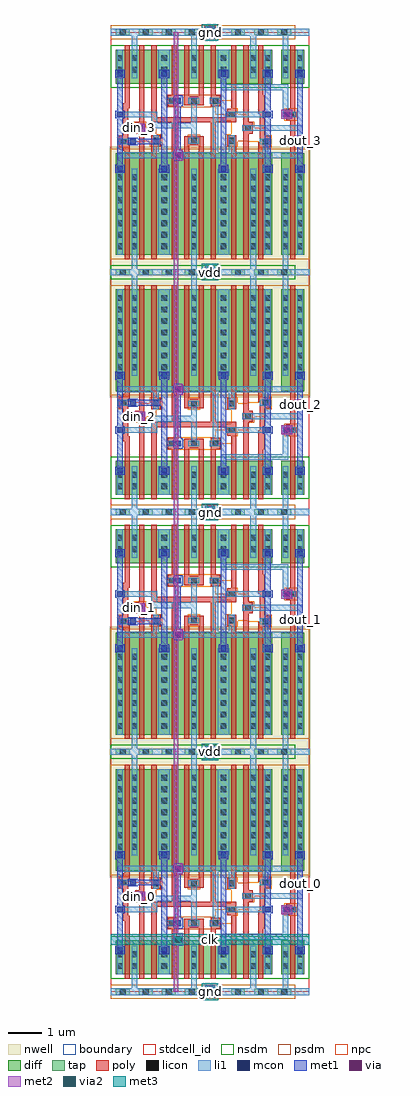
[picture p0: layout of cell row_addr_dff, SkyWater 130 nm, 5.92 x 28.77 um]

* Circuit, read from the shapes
.subckt row_addr_dff clk din_0 din_1 din_2 din_3 dout_0 dout_1 dout_2 dout_3 gnd vdd
XM1 gnd n1 n2 gnd sky130_fd_pr__nfet_01v8 w=1 l=0.15
XM2 gnd n3 n4 gnd sky130_fd_pr__nfet_01v8 w=1 l=0.15
XM3 gnd n5 n6 gnd sky130_fd_pr__nfet_01v8 w=1 l=0.15
XM4 gnd n7 n8 gnd sky130_fd_pr__nfet_01v8 w=1 l=0.15
XM5 n9 din_0 gnd gnd sky130_fd_pr__nfet_01v8 w=1 l=0.15
XM6 n10 din_1 gnd gnd sky130_fd_pr__nfet_01v8 w=1 l=0.15
XM7 n11 din_2 gnd gnd sky130_fd_pr__nfet_01v8 w=1 l=0.15
XM8 n12 din_3 gnd gnd sky130_fd_pr__nfet_01v8 w=1 l=0.15
XM9 n1 n13 n9 gnd sky130_fd_pr__nfet_01v8 w=1 l=0.15
XM10 n3 n14 n10 gnd sky130_fd_pr__nfet_01v8 w=1 l=0.15
XM11 n5 n15 n11 gnd sky130_fd_pr__nfet_01v8 w=1 l=0.15
XM12 n7 n16 n12 gnd sky130_fd_pr__nfet_01v8 w=1 l=0.15
XM13 n17 clk n1 gnd sky130_fd_pr__nfet_01v8 w=1 l=0.15
XM14 n18 clk n3 gnd sky130_fd_pr__nfet_01v8 w=1 l=0.15
XM15 n19 clk n5 gnd sky130_fd_pr__nfet_01v8 w=1 l=0.15
XM16 n20 clk n7 gnd sky130_fd_pr__nfet_01v8 w=1 l=0.15
XM17 gnd n2 n17 gnd sky130_fd_pr__nfet_01v8 w=1 l=0.15
XM18 gnd n4 n18 gnd sky130_fd_pr__nfet_01v8 w=1 l=0.15
XM19 gnd n6 n19 gnd sky130_fd_pr__nfet_01v8 w=1 l=0.15
XM20 gnd n8 n20 gnd sky130_fd_pr__nfet_01v8 w=1 l=0.15
XM21 n21 n2 gnd gnd sky130_fd_pr__nfet_01v8 w=1 l=0.15
XM22 n22 n4 gnd gnd sky130_fd_pr__nfet_01v8 w=1 l=0.15
XM23 n23 n6 gnd gnd sky130_fd_pr__nfet_01v8 w=1 l=0.15
XM24 n24 n8 gnd gnd sky130_fd_pr__nfet_01v8 w=1 l=0.15
XM25 dff_0/ON clk n21 gnd sky130_fd_pr__nfet_01v8 w=1 l=0.15
XM26 dff_1/ON clk n22 gnd sky130_fd_pr__nfet_01v8 w=1 l=0.15
XM27 dff_2/ON clk n23 gnd sky130_fd_pr__nfet_01v8 w=1 l=0.15
XM28 dff_3/ON clk n24 gnd sky130_fd_pr__nfet_01v8 w=1 l=0.15
XM29 n25 n13 dff_0/ON gnd sky130_fd_pr__nfet_01v8 w=1 l=0.15
XM30 n26 n14 dff_1/ON gnd sky130_fd_pr__nfet_01v8 w=1 l=0.15
XM31 n27 n15 dff_2/ON gnd sky130_fd_pr__nfet_01v8 w=1 l=0.15
XM32 n28 n16 dff_3/ON gnd sky130_fd_pr__nfet_01v8 w=1 l=0.15
XM33 gnd dout_0 n25 gnd sky130_fd_pr__nfet_01v8 w=1 l=0.15
XM34 gnd dout_1 n26 gnd sky130_fd_pr__nfet_01v8 w=1 l=0.15
XM35 gnd dout_2 n27 gnd sky130_fd_pr__nfet_01v8 w=1 l=0.15
XM36 gnd dout_3 n28 gnd sky130_fd_pr__nfet_01v8 w=1 l=0.15
XM37 n13 clk gnd gnd sky130_fd_pr__nfet_01v8 w=1 l=0.15
XM38 n14 clk gnd gnd sky130_fd_pr__nfet_01v8 w=1 l=0.15
XM39 n15 clk gnd gnd sky130_fd_pr__nfet_01v8 w=1 l=0.15
XM40 n16 clk gnd gnd sky130_fd_pr__nfet_01v8 w=1 l=0.15
XM41 dout_0 dff_0/ON gnd gnd sky130_fd_pr__nfet_01v8 w=1 l=0.15
XM42 dout_1 dff_1/ON gnd gnd sky130_fd_pr__nfet_01v8 w=1 l=0.15
XM43 dout_2 dff_2/ON gnd gnd sky130_fd_pr__nfet_01v8 w=1 l=0.15
XM44 dout_3 dff_3/ON gnd gnd sky130_fd_pr__nfet_01v8 w=1 l=0.15
XM45 vdd n1 n2 vdd sky130_fd_pr__pfet_01v8 w=3 l=0.15
XM46 vdd n3 n4 vdd sky130_fd_pr__pfet_01v8 w=3 l=0.15
XM47 vdd n5 n6 vdd sky130_fd_pr__pfet_01v8 w=3 l=0.15
XM48 vdd n7 n8 vdd sky130_fd_pr__pfet_01v8 w=3 l=0.15
XM49 n29 din_0 vdd vdd sky130_fd_pr__pfet_01v8 w=3 l=0.15
XM50 n30 din_1 vdd vdd sky130_fd_pr__pfet_01v8 w=3 l=0.15
XM51 n31 din_2 vdd vdd sky130_fd_pr__pfet_01v8 w=3 l=0.15
XM52 n32 din_3 vdd vdd sky130_fd_pr__pfet_01v8 w=3 l=0.15
XM53 n1 clk n29 vdd sky130_fd_pr__pfet_01v8 w=3 l=0.15
XM54 n3 clk n30 vdd sky130_fd_pr__pfet_01v8 w=3 l=0.15
XM55 n5 clk n31 vdd sky130_fd_pr__pfet_01v8 w=3 l=0.15
XM56 n7 clk n32 vdd sky130_fd_pr__pfet_01v8 w=3 l=0.15
XM57 n33 n13 n1 vdd sky130_fd_pr__pfet_01v8 w=3 l=0.15
XM58 n34 n14 n3 vdd sky130_fd_pr__pfet_01v8 w=3 l=0.15
XM59 n35 n15 n5 vdd sky130_fd_pr__pfet_01v8 w=3 l=0.15
XM60 n36 n16 n7 vdd sky130_fd_pr__pfet_01v8 w=3 l=0.15
XM61 vdd n2 n33 vdd sky130_fd_pr__pfet_01v8 w=3 l=0.15
XM62 vdd n4 n34 vdd sky130_fd_pr__pfet_01v8 w=3 l=0.15
XM63 vdd n6 n35 vdd sky130_fd_pr__pfet_01v8 w=3 l=0.15
XM64 vdd n8 n36 vdd sky130_fd_pr__pfet_01v8 w=3 l=0.15
XM65 n37 n2 vdd vdd sky130_fd_pr__pfet_01v8 w=3 l=0.15
XM66 n38 n4 vdd vdd sky130_fd_pr__pfet_01v8 w=3 l=0.15
XM67 n39 n6 vdd vdd sky130_fd_pr__pfet_01v8 w=3 l=0.15
XM68 n40 n8 vdd vdd sky130_fd_pr__pfet_01v8 w=3 l=0.15
XM69 dff_0/ON n13 n37 vdd sky130_fd_pr__pfet_01v8 w=3 l=0.15
XM70 dff_1/ON n14 n38 vdd sky130_fd_pr__pfet_01v8 w=3 l=0.15
XM71 dff_2/ON n15 n39 vdd sky130_fd_pr__pfet_01v8 w=3 l=0.15
XM72 dff_3/ON n16 n40 vdd sky130_fd_pr__pfet_01v8 w=3 l=0.15
XM73 n41 clk dff_0/ON vdd sky130_fd_pr__pfet_01v8 w=3 l=0.15
XM74 n42 clk dff_1/ON vdd sky130_fd_pr__pfet_01v8 w=3 l=0.15
XM75 n43 clk dff_2/ON vdd sky130_fd_pr__pfet_01v8 w=3 l=0.15
XM76 n44 clk dff_3/ON vdd sky130_fd_pr__pfet_01v8 w=3 l=0.15
XM77 vdd dout_0 n41 vdd sky130_fd_pr__pfet_01v8 w=3 l=0.15
XM78 vdd dout_1 n42 vdd sky130_fd_pr__pfet_01v8 w=3 l=0.15
XM79 vdd dout_2 n43 vdd sky130_fd_pr__pfet_01v8 w=3 l=0.15
XM80 vdd dout_3 n44 vdd sky130_fd_pr__pfet_01v8 w=3 l=0.15
XM81 n13 clk vdd vdd sky130_fd_pr__pfet_01v8 w=3 l=0.15
XM82 n14 clk vdd vdd sky130_fd_pr__pfet_01v8 w=3 l=0.15
XM83 n15 clk vdd vdd sky130_fd_pr__pfet_01v8 w=3 l=0.15
XM84 n16 clk vdd vdd sky130_fd_pr__pfet_01v8 w=3 l=0.15
XM85 dout_0 dff_0/ON vdd vdd sky130_fd_pr__pfet_01v8 w=3 l=0.15
XM86 dout_1 dff_1/ON vdd vdd sky130_fd_pr__pfet_01v8 w=3 l=0.15
XM87 dout_2 dff_2/ON vdd vdd sky130_fd_pr__pfet_01v8 w=3 l=0.15
XM88 dout_3 dff_3/ON vdd vdd sky130_fd_pr__pfet_01v8 w=3 l=0.15
.ends

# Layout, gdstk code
import gdstk
lib = gdstk.Library(unit=1e-6, precision=1e-09)
def R(c, l, rs):  # rectangles x0, y0, x1, y1
    for r in rs: c.add(gdstk.rectangle(r[:2], r[2:], *l))
def A(c, l, x, y, w, h, nx, ny, dx, dy):  # array of equal rectangles
    R(c, l, [(x+i*dx, y+j*dy, x+i*dx+w, y+j*dy+h) for i in range(nx) for j in range(ny)])
nwell = (64, 20)
diff = (65, 20)
tap = (65, 44)
poly = (66, 20)
licon = (66, 44)
li1 = (67, 20)
mcon = (67, 44)
met1 = (68, 20)
via = (68, 44)
met2 = (69, 20)
via2 = (69, 44)
met3 = (70, 20)
stdcell_id = (81, 4)
nsdm = (93, 44)
psdm = (94, 20)
npc = (95, 20)
boundary = (235, 4)

dff = lib.new_cell('dff')
R(dff, nwell, [(-0.04,3.38,5.88,7.335)])
R(dff, diff, [(0.14,0.51,4.75,1.51), (5.02,0.51,5.7,1.51), (0.14,3.56,4.75,6.56), (5.02,3.56,5.7,6.56)])
A(dff, tap, 0.14, -0.085, 0.41, 0.17, 8, 2, 0.68, 7.07)
R(dff, poly, [(0.405,0.38,0.555,2.085), (0.835,0.38,0.985,2.655), (1.195,0.38,1.345,2.505), (1.795,0.38,1.945,1.855), (2.155,0.38,2.305,1.885), (2.585,0.38,2.735,1.885), (2.945,0.38,3.095,1.855), (3.545,0.38,3.695,2.255), (3.905,0.38,4.055,2.655), (4.335,0.38,4.485,1.855), (5.285,0.38,5.435,2.255), (1.675,1.855,1.945,2.185), (2.945,1.855,3.215,2.185), (4.335,1.855,4.54,2.405), (2.155,1.885,2.735,2.155), (0.355,2.085,0.555,2.235), (0.355,2.235,0.505,3.055), (3.425,2.255,3.695,2.505), (5.165,2.255,5.435,2.585), (4.39,2.405,4.54,3.055), (1.195,2.505,3.695,2.655), (5.285,2.585,5.435,6.69), (0.715,2.655,0.985,2.985), (1.795,2.655,1.945,6.69), (2.945,2.655,3.095,6.69), (3.905,2.655,4.175,2.985), (0.835,2.985,0.985,6.69), (3.905,2.985,4.055,6.69), (1.195,3.03,1.465,3.36), (3.425,3.03,3.695,3.36), (0.235,3.055,0.505,3.335), (4.39,3.055,4.69,3.235), (2.155,3.065,2.735,3.335), (4.335,3.235,4.69,3.385), (0.235,3.335,0.555,3.385), (2.155,3.335,2.305,6.69), (2.585,3.335,2.735,6.69), (1.195,3.36,1.345,6.69), (3.545,3.36,3.695,6.69), (0.35,3.385,0.555,3.485), (4.335,3.385,4.485,6.69), (0.405,3.485,0.555,6.69)])
A(dff, licon, 0.26, -0.085, 0.17, 0.17, 8, 2, 0.68, 7.07)
A(dff, licon, 0.61, 0.675, 0.17, 0.17, 5, 2, 0.875, 0.34)
A(dff, licon, 1.725, 1.935, 0.17, 0.17, 3, 1, 0.635, 0)
A(dff, licon, 0.18, 4.185, 0.17, 0.17, 1, 7, 0, 0.34)
A(dff, licon, 0.61, 4.185, 0.17, 0.17, 5, 7, 0.875, 0.34)
A(dff, licon, 4.54, 4.185, 0.17, 0.17, 1, 7, 0, 0.34)
A(dff, licon, 5.06, 4.185, 0.17, 0.17, 1, 7, 0, 0.34)
A(dff, licon, 5.49, 4.185, 0.17, 0.17, 1, 7, 0, 0.34)
R(dff, licon, [(0.18,0.675,0.35,0.845), (4.54,0.675,4.71,0.845), (5.06,0.675,5.23,0.845), (5.49,0.675,5.66,0.845), (0.18,1.015,0.35,1.185), (4.54,1.015,4.71,1.185), (5.06,1.015,5.23,1.185), (5.49,1.015,5.66,1.185), (3.475,2.335,3.645,2.505), (5.215,2.335,5.385,2.505), (0.765,2.735,0.935,2.905), (3.955,2.735,4.125,2.905), (1.245,3.11,1.415,3.28), (3.475,3.11,3.645,3.28), (2.36,3.115,2.53,3.285), (0.285,3.135,0.455,3.305), (4.47,3.135,4.64,3.305)])
A(dff, li1, 0.61, 0.1, 0.17, 1.25, 3, 1, 1.75, 0)
A(dff, li1, 0.61, 4.02, 0.17, 2.96, 3, 1, 1.75, 0)
R(dff, li1, [(0,-0.1,5.84,0.1), (0,-0.1,5.84,0.1), (5.06,0.1,5.23,1.35), (0.18,0.51,0.35,1.35), (1.4,0.51,1.74,1.35), (3.15,0.51,3.49,1.35), (4.54,0.51,4.71,1.355), (5.49,0.51,5.66,1.355), (3.235,1.35,3.405,1.535), (3.235,1.535,5.23,1.705), (5.06,1.705,5.23,2.335), (1.64,1.935,2.065,2.105), (2.28,1.935,2.61,2.105), (2.915,1.935,3.245,2.105), (2.36,2.105,2.53,2.66), (2.995,2.105,3.165,3.535), (0.18,2.335,1.365,2.505), (3.395,2.335,4.71,2.505), (5.06,2.335,5.465,2.505), (1.195,2.505,1.365,2.66), (1.195,2.66,2.53,2.83), (0.685,2.735,1.015,2.905), (3.875,2.735,5.66,2.905), (2.36,2.83,2.53,3.115), (5.49,2.905,5.66,3.26), (1.245,3.03,1.415,3.535), (3.475,3.03,3.645,3.535), (2.28,3.115,2.61,3.285), (0.205,3.135,0.735,3.305), (4.39,3.135,4.72,3.305), (4.47,3.305,4.64,3.535), (0.205,3.535,5.66,3.705), (0.18,3.935,0.35,6.56), (1.485,3.935,1.655,4.02), (3.235,3.935,3.405,4.02), (4.54,3.935,4.71,6.56), (5.49,3.935,5.66,6.56), (1.4,4.02,1.74,6.56), (3.15,4.02,3.49,6.56), (5.06,4.02,5.23,6.98), (0,6.98,5.84,7.16), (0,6.98,5.84,7.16)])
R(dff, mcon, [(0.18,1.135,0.35,1.305), (1.485,1.135,1.655,1.305), (3.235,1.135,3.405,1.305), (4.54,1.135,4.71,1.305), (5.49,1.135,5.66,1.305), (1.895,1.935,2.065,2.105), (0.18,2.335,0.35,2.505), (4.54,2.335,4.71,2.505), (5.1,2.335,5.27,2.505), (0.765,2.735,0.935,2.905), (5.49,3.09,5.66,3.26), (0.565,3.135,0.735,3.305), (1.895,3.535,2.065,3.705), (0.18,3.935,0.35,4.105), (1.485,3.935,1.655,4.105), (3.235,3.935,3.405,4.105), (4.54,3.935,4.71,4.105), (5.49,3.935,5.66,4.105)])
R(dff, met1, [(0.12,1.105,0.41,1.335), (1.425,1.105,1.715,1.335), (3.175,1.105,3.465,1.335), (4.48,1.105,4.77,1.335), (5.43,1.105,5.72,1.335), (0.18,1.335,0.35,2.305), (1.485,1.335,1.655,3.135), (3.235,1.335,3.405,3.905), (4.54,1.335,4.71,2.305), (5.49,1.335,5.66,3.045), (1.845,1.86,2.115,1.905), (1.835,1.905,2.125,2.135), (1.845,2.135,2.115,2.18), (1.895,2.18,2.065,3.46), (5.02,2.29,5.35,2.55), (0.12,2.305,0.41,2.535), (4.48,2.305,4.77,2.535), (0.18,2.535,0.35,3.905), (4.54,2.535,4.71,3.905), (0.685,2.69,1.015,2.95), (5.41,3.045,5.74,3.305), (0.505,3.105,0.795,3.135), (0.505,3.135,1.655,3.305), (0.505,3.305,0.795,3.335), (1.485,3.305,1.655,3.905), (5.49,3.305,5.66,3.905), (1.845,3.46,2.115,3.505), (1.835,3.505,2.125,3.735), (1.845,3.735,2.115,3.78), (0.12,3.905,0.41,4.135), (1.425,3.905,1.715,4.135), (3.175,3.905,3.465,4.135), (4.48,3.905,4.77,4.135), (5.43,3.905,5.72,4.135)])
R(dff, via, [(5.11,2.345,5.26,2.495), (0.775,2.745,0.925,2.895), (5.5,3.1,5.65,3.25), (1.905,3.545,2.055,3.695)])
R(dff, met2, [(5.02,2.29,5.35,2.55), (0.685,2.69,1.015,2.95), (0.685,2.69,1.015,2.95), (5.41,3.045,5.74,3.305), (5.41,3.045,5.74,3.305), (1.845,3.46,2.115,3.78), (1.845,3.46,2.115,3.78)])
R(dff, stdcell_id, [(0,0,5.84,7.07)])
R(dff, nsdm, [(0,0.385,5.84,1.635), (0,6.86,5.435,7.07), (0,7.07,5.435,7.28)])
R(dff, psdm, [(0,-0.21,5.435,0), (0,0,5.435,0.21), (0,3.435,5.84,6.685)])
R(dff, npc, [(1.625,1.835,3.265,2.01), (1.625,2.01,3.57,2.205), (3.07,2.205,3.57,2.235), (3.07,2.235,3.745,2.41), (5.115,2.235,5.485,2.605), (3.07,2.41,4.05,2.43), (3.375,2.43,4.05,2.605), (3.55,2.605,4.05,2.635), (0.665,2.635,1.035,2.81), (3.55,2.635,4.225,2.81), (0.36,2.81,1.34,3.01), (3.55,2.81,4.565,3.01), (0.36,3.01,1.515,3.035), (3.375,3.01,4.565,3.035), (2.26,3.015,2.63,3.385), (0.185,3.035,1.515,3.205), (3.375,3.035,4.74,3.205), (0.185,3.205,0.86,3.23), (1.145,3.205,1.515,3.38), (3.375,3.205,3.745,3.38), (4.03,3.205,4.74,3.23), (0.185,3.23,0.555,3.405), (4.37,3.23,4.74,3.405)])
R(dff, boundary, [(0,0,5.84,7.07)])
dff.add(gdstk.Label('gnd', (2.72,0), layer=67, texttype=20))
dff.add(gdstk.Label('vdd', (2.74,7.08), layer=67, texttype=20))
dff.add(gdstk.Label('Q', (5.73,3.295), layer=69, texttype=16))
dff.add(gdstk.Label('clk', (2.095,3.765), layer=69, texttype=16))
dff.add(gdstk.Label('ON', (5.035,2.52), layer=69, texttype=16))
dff.add(gdstk.Label('D', (0.695,2.93), layer=69, texttype=16))
dff.add(gdstk.Label('clk', (1.98,3.62), layer=69, texttype=16))
dff.add(gdstk.Label('gnd', (2.92,0), layer=67, texttype=16))
dff.add(gdstk.Label('Q', (5.575,3.175), layer=69, texttype=16))
dff.add(gdstk.Label('vdd', (2.92,7.07), layer=67, texttype=16))
dff.add(gdstk.Label('D', (0.85,2.82), layer=69, texttype=16))

contact_7 = lib.new_cell('contact_7')
R(contact_7, li1, [(0.06,0,0.23,0.33)])
R(contact_7, mcon, [(0.06,0.08,0.23,0.25)])
R(contact_7, met1, [(0,0.05,0.29,0.28)])
R(contact_7, stdcell_id, [(0,0,0.29,0.33)])
R(contact_7, boundary, [(0,0,0.29,0.33)])

contact_8 = lib.new_cell('contact_8')
R(contact_8, met1, [(0,0.03,0.32,0.29)])
R(contact_8, via, [(0.085,0.085,0.235,0.235)])
R(contact_8, met2, [(0.03,0,0.29,0.32)])
R(contact_8, stdcell_id, [(0,0,0.32,0.32)])
R(contact_8, boundary, [(0,0,0.32,0.32)])

contact_9 = lib.new_cell('contact_9')
R(contact_9, met2, [(0.025,0,0.305,0.37)])
R(contact_9, via2, [(0.065,0.085,0.265,0.285)])
R(contact_9, met3, [(0,0.02,0.33,0.35)])
R(contact_9, stdcell_id, [(0,0,0.33,0.37)])
R(contact_9, boundary, [(0,0,0.33,0.37)])

row_addr_dff = lib.new_cell('row_addr_dff')
R(row_addr_dff, met1, [(2.76,-0.13,3.08,0.13), (2.76,6.94,3.08,7.2), (2.76,6.94,3.08,7.2), (2.76,14.01,3.08,14.27), (2.76,14.01,3.08,14.27), (2.76,21.08,3.08,21.34), (2.76,21.08,3.08,21.34), (2.76,28.15,3.08,28.41)])
R(row_addr_dff, met2, [(2.78,-0.12,3.06,0.12), (1.845,0,1.985,28.28), (0.685,2.69,1.015,2.95), (5.41,3.045,5.74,3.305), (2.78,6.95,3.06,7.19), (2.78,6.95,3.06,7.19), (5.41,10.835,5.74,11.095), (0.685,11.19,1.015,11.45), (2.78,14.02,3.06,14.26), (2.78,14.02,3.06,14.26), (0.685,16.83,1.015,17.09), (5.41,17.185,5.74,17.445), (2.78,21.09,3.06,21.33), (2.78,21.09,3.06,21.33), (5.41,24.975,5.74,25.235), (0.685,25.33,1.015,25.59), (2.78,28.16,3.06,28.4)])
A(row_addr_dff, met3, 2.675, -0.245, 0.49, 0.49, 1, 5, 0, 7.07)
R(row_addr_dff, met3, [(0,1.39,5.84,1.69)])
R(row_addr_dff, stdcell_id, [(0,0,5.84,28.28)])
R(row_addr_dff, boundary, [(0,0,5.84,28.28)])
row_addr_dff.add(gdstk.Reference(dff, (0,0)))
row_addr_dff.add(gdstk.Reference(dff, (0,14.14), x_reflection=True))
row_addr_dff.add(gdstk.Reference(dff, (0,14.14)))
row_addr_dff.add(gdstk.Reference(dff, (0,28.28), x_reflection=True))
row_addr_dff.add(gdstk.Reference(contact_7, (2.775,6.905)))
row_addr_dff.add(gdstk.Reference(contact_8, (2.76,6.91)))
row_addr_dff.add(gdstk.Reference(contact_9, (2.755,6.885)))
row_addr_dff.add(gdstk.Reference(contact_7, (2.775,-0.165)))
row_addr_dff.add(gdstk.Reference(contact_8, (2.76,-0.16)))
row_addr_dff.add(gdstk.Reference(contact_9, (2.755,-0.185)))
row_addr_dff.add(gdstk.Reference(contact_7, (2.775,6.905)))
row_addr_dff.add(gdstk.Reference(contact_8, (2.76,6.91)))
row_addr_dff.add(gdstk.Reference(contact_9, (2.755,6.885)))
row_addr_dff.add(gdstk.Reference(contact_7, (2.775,13.975)))
row_addr_dff.add(gdstk.Reference(contact_8, (2.76,13.98)))
row_addr_dff.add(gdstk.Reference(contact_9, (2.755,13.955)))
row_addr_dff.add(gdstk.Reference(contact_7, (2.775,21.045)))
row_addr_dff.add(gdstk.Reference(contact_8, (2.76,21.05)))
row_addr_dff.add(gdstk.Reference(contact_9, (2.755,21.025)))
row_addr_dff.add(gdstk.Reference(contact_7, (2.775,13.975)))
row_addr_dff.add(gdstk.Reference(contact_8, (2.76,13.98)))
row_addr_dff.add(gdstk.Reference(contact_9, (2.755,13.955)))
row_addr_dff.add(gdstk.Reference(contact_7, (2.775,21.045)))
row_addr_dff.add(gdstk.Reference(contact_8, (2.76,21.05)))
row_addr_dff.add(gdstk.Reference(contact_9, (2.755,21.025)))
row_addr_dff.add(gdstk.Reference(contact_7, (2.775,28.115)))
row_addr_dff.add(gdstk.Reference(contact_8, (2.76,28.12)))
row_addr_dff.add(gdstk.Reference(contact_9, (2.755,28.095)))
row_addr_dff.add(gdstk.Reference(contact_9, (1.815,1.355)))
row_addr_dff.add(gdstk.Label('din_2', (0.85,16.96), layer=69, texttype=16))
row_addr_dff.add(gdstk.Label('clk', (2.92,1.54), layer=70, texttype=16))
row_addr_dff.add(gdstk.Label('gnd', (2.92,14.14), layer=70, texttype=16))
row_addr_dff.add(gdstk.Label('gnd', (2.92,28.28), layer=70, texttype=16))
row_addr_dff.add(gdstk.Label('gnd', (2.92,0), layer=70, texttype=16))
row_addr_dff.add(gdstk.Label('dout_2', (5.575,17.315), layer=69, texttype=16))
row_addr_dff.add(gdstk.Label('dout_3', (5.575,25.105), layer=69, texttype=16))
row_addr_dff.add(gdstk.Label('dout_0', (5.575,3.175), layer=69, texttype=16))
row_addr_dff.add(gdstk.Label('din_3', (0.85,25.46), layer=69, texttype=16))
row_addr_dff.add(gdstk.Label('din_1', (0.85,11.32), layer=69, texttype=16))
row_addr_dff.add(gdstk.Label('dout_1', (5.575,10.965), layer=69, texttype=16))
row_addr_dff.add(gdstk.Label('vdd', (2.92,7.07), layer=70, texttype=16))
row_addr_dff.add(gdstk.Label('vdd', (2.92,21.21), layer=70, texttype=16))
row_addr_dff.add(gdstk.Label('din_0', (0.85,2.82), layer=69, texttype=16))

lib.write_gds('row_addr_dff.gds')
